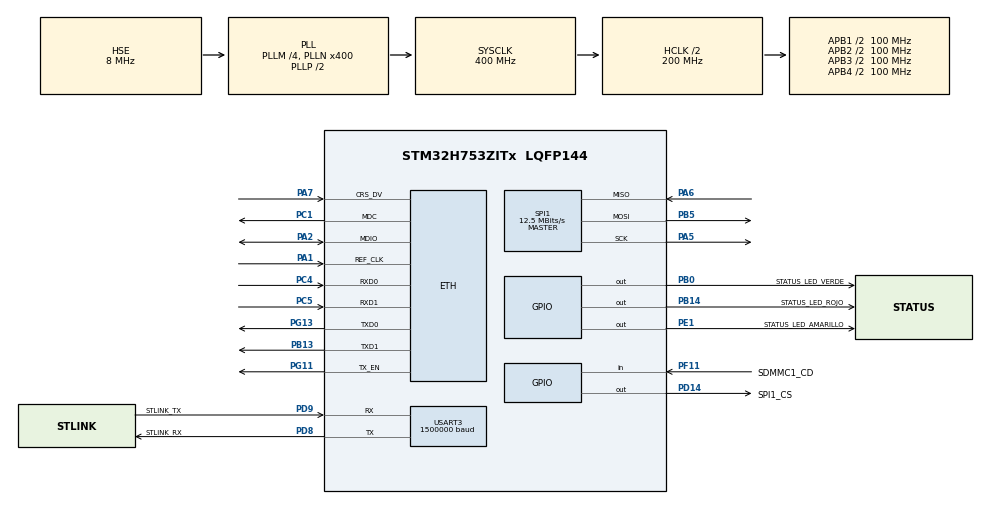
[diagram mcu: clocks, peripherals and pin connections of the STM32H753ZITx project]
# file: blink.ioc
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ADC3.Channel-1\#ChannelRegularConversion=ADC_CHANNEL_TEMPSENSOR
ADC3.NbrOfConversionFlag=1
ADC3.OffsetNumber-1\#ChannelRegularConversion=ADC_OFFSET_NONE
ADC3.OffsetSignedSaturation-1\#ChannelRegularConversion=DISABLE
ADC3.Rank-1\#ChannelRegularConversion=1
ADC3.SamplingTime-1\#ChannelRegularConversion=ADC_SAMPLETIME_1CYCLE_5
CORTEX_M7.AccessPermission_Spec=MPU_REGION_FULL_ACCESS
CORTEX_M7.BaseAddress_Spec=0x30000000
CORTEX_M7.CPU_DCache=Enabled
CORTEX_M7.CPU_ICache=Enabled
CORTEX_M7.DisableExec_Spec=MPU_INSTRUCTION_ACCESS_ENABLE
CORTEX_M7.IsShareable_Spec=MPU_ACCESS_NOT_SHAREABLE
CORTEX_M7.MPU_Control=MPU_PRIVILEGED_DEFAULT
CORTEX_M7.Size_Spec=MPU_REGION_SIZE_32KB
CORTEX_M7.SubRegionDisable_Spec=0
CORTEX_M7.TypeExtField_Spec=MPU_TEX_LEVEL1
CORTEX_M7.default_mode_Activation=1
Dma.Request0=USART3_TX
Dma.USART3_TX.0.Direction=DMA_MEMORY_TO_PERIPH
Dma.USART3_TX.0.EventEnable=DISABLE
Dma.USART3_TX.0.FIFOMode=DMA_FIFOMODE_DISABLE
Dma.USART3_TX.0.Instance=DMA1_Stream0
Dma.USART3_TX.0.MemDataAlignment=DMA_MDATAALIGN_BYTE
Dma.USART3_TX.0.MemInc=DMA_MINC_ENABLE
Dma.USART3_TX.0.Mode=DMA_NORMAL
Dma.USART3_TX.0.PeriphDataAlignment=DMA_PDATAALIGN_BYTE
Dma.USART3_TX.0.PeriphInc=DMA_PINC_DISABLE
Dma.USART3_TX.0.Polarity=HAL_DMAMUX_REQ_GEN_RISING
Dma.USART3_TX.0.Priority=DMA_PRIORITY_LOW
Dma.USART3_TX.0.RequestNumber=1
Dma.USART3_TX.0.SignalID=NONE
Dma.USART3_TX.0.SyncEnable=DISABLE
Dma.USART3_TX.0.SyncPolarity=HAL_DMAMUX_SYNC_NO_EVENT
Dma.USART3_TX.0.SyncRequestNumber=1
Dma.USART3_TX.0.SyncSignalID=NONE
ETH.MediaInterface=HAL_ETH_RMII_MODE
FREERTOS.Tasks01=defaultTask,24,512,StartDefaultTask,Default,NULL,Dynamic,NULL,NULL
FREERTOS.configENABLE_FPU=1
FREERTOS.configGENERATE_RUN_TIME_STATS=1
FREERTOS.configTOTAL_HEAP_SIZE=65536
FREERTOS.configUSE_MALLOC_FAILED_HOOK=1
FREERTOS.configUSE_NEWLIB_REENTRANT=1
Mcu.Family=STM32H7
Mcu.Name=STM32H753ZITx
Mcu.Package=LQFP144
NVIC.DMA1_Stream0_IRQn=true\:5\:0\:false\:false\:true\:true\:false\:true\:true
NVIC.ETH_IRQn=true\:5\:0\:true\:false\:false\:true\:true\:true\:true
NVIC.PriorityGroup=NVIC_PRIORITYGROUP_4
NVIC.TIM6_DAC_IRQn=true\:15\:0\:false\:false\:true\:false\:false\:true\:true
NVIC.TimeBase=TIM6_DAC_IRQn
NVIC.TimeBaseIP=TIM6
NVIC.USART3_IRQn=true\:5\:0\:false\:false\:true\:true\:true\:true\:true
PA1.Mode=RMII
PA1.Signal=ETH_REF_CLK
PA13\ (JTMS/SWDIO).Mode=Serial_Wire
PA13\ (JTMS/SWDIO).Signal=DEBUG_JTMS-SWDIO
PA14\ (JTCK/SWCLK).Mode=Serial_Wire
PA14\ (JTCK/SWCLK).Signal=DEBUG_JTCK-SWCLK
PA2.Mode=RMII
PA2.Signal=ETH_MDIO
PA5.GPIO_Mode=GPIO_MODE_AF_PP
PA5.GPIO_PuPd=GPIO_NOPULL
PA5.GPIO_Speed=GPIO_SPEED_FREQ_VERY_HIGH
PA5.Mode=Full_Duplex_Master
PA5.Signal=SPI1_SCK
PA6.GPIO_Mode=GPIO_MODE_AF_PP
PA6.GPIO_PuPd=GPIO_NOPULL
PA6.GPIO_Speed=GPIO_SPEED_FREQ_VERY_HIGH
PA6.Mode=Full_Duplex_Master
PA6.Signal=SPI1_MISO
PA7.Mode=RMII
PA7.Signal=ETH_CRS_DV
PB0.GPIO_Label=STATUS_LED_VERDE
PB0.Signal=GPIO_Output
PB13.Mode=RMII
PB13.Signal=ETH_TXD1
PB14.GPIO_Label=STATUS_LED_ROJO
PB14.Signal=GPIO_Output
PB5.GPIO_Speed=GPIO_SPEED_FREQ_VERY_HIGH
PB5.Mode=Full_Duplex_Master
PB5.Signal=SPI1_MOSI
PC1.Mode=RMII
PC1.Signal=ETH_MDC
PC14-OSC32_IN\ (OSC32_IN).Mode=LSE-External-Oscillator
PC14-OSC32_IN\ (OSC32_IN).Signal=RCC_OSC32_IN
PC15-OSC32_OUT\ (OSC32_OUT).Mode=LSE-External-Oscillator
PC15-OSC32_OUT\ (OSC32_OUT).Signal=RCC_OSC32_OUT
PC4.Mode=RMII
PC4.Signal=ETH_RXD0
PC5.Mode=RMII
PC5.Signal=ETH_RXD1
PD14.GPIO_Label=SPI1_CS
PD14.GPIO_Speed=GPIO_SPEED_FREQ_VERY_HIGH
PD14.PinState=GPIO_PIN_SET
PD14.Signal=GPIO_Output
PD8.GPIO_Label=STLINK_RX
PD8.Mode=Asynchronous
PD8.Signal=USART3_TX
PD9.GPIO_Label=STLINK_TX
PD9.Mode=Asynchronous
PD9.Signal=USART3_RX
PE1.GPIO_Label=STATUS_LED_AMARILLO
PE1.Signal=GPIO_Output
PF11.GPIO_Label=SDMMC1_CD
PF11.GPIO_PuPd=GPIO_PULLUP
PF11.Signal=GPIO_Input
PG11.Mode=RMII
PG11.Signal=ETH_TX_EN
PG13.Mode=RMII
PG13.Signal=ETH_TXD0
PH0-OSC_IN\ (PH0).Mode=HSE-External-Oscillator
PH0-OSC_IN\ (PH0).Signal=RCC_OSC_IN
PH1-OSC_OUT\ (PH1).Mode=HSE-External-Oscillator
PH1-OSC_OUT\ (PH1).Signal=RCC_OSC_OUT
ProjectManager.HeapSize=0x2000
ProjectManager.StackSize=0x2000
ProjectManager.TargetToolchain=STM32CubeIDE
RCC.ADCFreq_Value=25000000
RCC.APB1Freq_Value=100000000
RCC.APB2Freq_Value=100000000
RCC.APB3Freq_Value=100000000
RCC.APB4Freq_Value=100000000
RCC.CortexFreq_Value=400000000
RCC.D1PPRE=RCC_APB3_DIV2
RCC.D2PPRE1=RCC_APB1_DIV2
RCC.D2PPRE2=RCC_APB2_DIV2
RCC.D3PPRE=RCC_APB4_DIV2
RCC.DIVM1=4
RCC.DIVM2=4
RCC.DIVN1=400
RCC.DIVN2=100
RCC.DIVP2=8
RCC.DIVQ1=4
RCC.HCLKFreq_Value=200000000
RCC.HPRE=RCC_HCLK_DIV2
RCC.HSE_VALUE=8000000
RCC.LSE_Drive_Capability=RCC_LSEDRIVE_MEDIUMLOW
RCC.PLLFRACN=0
RCC.PLLSourceVirtual=RCC_PLLSOURCE_HSE
RCC.RTCClockSelection=RCC_RTCCLKSOURCE_LSE
RCC.SYSCLKFreq_VALUE=400000000
RCC.SYSCLKSource=RCC_SYSCLKSOURCE_PLLCLK
RCC.USBFreq_Value=200000000
SPI1.BaudRatePrescaler=SPI_BAUDRATEPRESCALER_16
SPI1.CLKPhase=SPI_PHASE_1EDGE
SPI1.CLKPolarity=SPI_POLARITY_LOW
SPI1.CalculateBaudRate=12.5 MBits/s
SPI1.DataSize=SPI_DATASIZE_8BIT
SPI1.Direction=SPI_DIRECTION_2LINES
SPI1.Mode=SPI_MODE_MASTER
SPI1.NSSPMode=SPI_NSS_PULSE_DISABLE
SPI1.VirtualType=VM_MASTER
USART3.BaudRate=1500000
USART3.VirtualMode-Asynchronous=VM_ASYNC
VP_ADC3_TempSens_Input.Mode=IN-TempSens
VP_FREERTOS_VS_CMSIS_V2.Mode=CMSIS_V2
VP_MEMORYMAP_VS_MEMORYMAP.Mode=CurAppReg
VP_RCC_LSE.Mode=CRS SYNC Source LSE
VP_RNG_VS_RNG.Mode=RNG_Activate
VP_RTC_VS_RTC_Activate.Mode=RTC_Enabled
VP_SYS_VS_tim6.Mode=TIM6
board=NUCLEO-H753ZI

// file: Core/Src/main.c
/* USER CODE BEGIN Header */
/**
  * @file           : main.c
  * @brief          : Código Nucleo-H753 - 400MHz HSE con 3 Tareas FreeRTOS
  */
/* USER CODE END Header */
#include "main.h"
#include "FreeRTOS.h"
#include "cmsis_os2.h"
#include "adc.h"
#include "dma.h"
#include "eth.h"
#include "rng.h"
#include "rtc.h"
#include "spi.h"
#include "usart.h"
#include "gpio.h"

/* USER CODE BEGIN Includes */
#include <stdio.h>
#include "LedDataVision/LedData.h"
#include "Error/ErrorHandler.h"
#include "MsgUart/TestUart/TestUart.h"
#include "MsgUart/RxUart/RxUart.h"
#include "MsgUart/TxUart/TxUart.h"
#include "SPI_Flash_Memory/SPI_Flash_Memory.h"
#include <string.h>
#include "Network/PageWeb/Modulo1_memory.h"
/* USER CODE END Includes */

/* USER CODE BEGIN PM */

/* AQUÍ: Macros de preprocesador que ejecutan lógica en línea.*/

/* USER CODE END PM */

/* USER CODE BEGIN PV */
extern UART_HandleTypeDef huart3;
extern osThreadId_t ThreadId_Uart_Rx;
/* USER CODE END PV */

void SystemClock_Config(void);
static void MPU_Config(void);
void MX_FREERTOS_Init(void);
/* USER CODE BEGIN PFP */
//void StartSDManagerTask(void *argument);

/* USER CODE END PFP */

int main(void)
{

  /* USER CODE BEGIN 1 */
  RamInfo_PaintMainStack();
  /* USER CODE END 1 */

  /* MPU Configuration--------------------------------------------------------*/
  MPU_Config();

  /* Enable the CPU Cache */

  /* Enable I-Cache---------------------------------------------------------*/
  SCB_EnableICache();

  /* Enable D-Cache---------------------------------------------------------*/
  SCB_EnableDCache();

  /* MCU Configuration--------------------------------------------------------*/

  /* Reset of all peripherals, Initializes the Flash interface and the Systick. */
  HAL_Init();

  /* Configure the system clock */
  SystemClock_Config();

  /* Initialize all configured peripherals */
  MX_GPIO_Init();
  MX_DMA_Init();
  MX_RTC_Init();
  MX_USART3_UART_Init();
  MX_SPI1_Init();
  MX_ETH_Init();
  MX_RNG_Init();
  MX_ADC3_Init();

  /* Init scheduler */
  osKernelInitialize();  /* Call init function for freertos objects (in cmsis_os2.c) */
  MX_FREERTOS_Init();

  /* Start scheduler */
  osKernelStart();

  /* We should never get here as control is now taken by the scheduler */

  /* Infinite loop */
  while (1)
  {

  }
}

void SystemClock_Config(void)
{
  RCC_OscInitTypeDef RCC_OscInitStruct = {0};
  RCC_ClkInitTypeDef RCC_ClkInitStruct = {0};
  RCC_CRSInitTypeDef RCC_CRSInitStruct = {0};

  /** Supply configuration update enable
  */
  HAL_PWREx_ConfigSupply(PWR_LDO_SUPPLY);

  /** Configure the main internal regulator output voltage
  */
  __HAL_PWR_VOLTAGESCALING_CONFIG(PWR_REGULATOR_VOLTAGE_SCALE1);

  while(!__HAL_PWR_GET_FLAG(PWR_FLAG_VOSRDY)) {}

  /** Configure LSE Drive Capability
  */
  HAL_PWR_EnableBkUpAccess();
  __HAL_RCC_LSEDRIVE_CONFIG(RCC_LSEDRIVE_MEDIUMLOW);

  /** Initializes the RCC Oscillators according to the specified parameters
  * in the RCC_OscInitTypeDef structure.
  */
  RCC_OscInitStruct.OscillatorType = RCC_OSCILLATORTYPE_HSI48|RCC_OSCILLATORTYPE_HSE
                              |RCC_OSCILLATORTYPE_LSE;
  RCC_OscInitStruct.HSEState = RCC_HSE_ON;
  RCC_OscInitStruct.LSEState = RCC_LSE_ON;
  RCC_OscInitStruct.HSI48State = RCC_HSI48_ON;
  RCC_OscInitStruct.PLL.PLLState = RCC_PLL_ON;
  RCC_OscInitStruct.PLL.PLLSource = RCC_PLLSOURCE_HSE;
  RCC_OscInitStruct.PLL.PLLM = 4;
  RCC_OscInitStruct.PLL.PLLN = 400;
  RCC_OscInitStruct.PLL.PLLP = 2;
  RCC_OscInitStruct.PLL.PLLQ = 4;
  RCC_OscInitStruct.PLL.PLLR = 2;
  RCC_OscInitStruct.PLL.PLLRGE = RCC_PLL1VCIRANGE_1;
  RCC_OscInitStruct.PLL.PLLVCOSEL = RCC_PLL1VCOWIDE;
  RCC_OscInitStruct.PLL.PLLFRACN = 0;
  if (HAL_RCC_OscConfig(&RCC_OscInitStruct) != HAL_OK)
  {
    Error_Handler();
  }

  /** Initializes the CPU, AHB and APB buses clocks
  */
  RCC_ClkInitStruct.ClockType = RCC_CLOCKTYPE_HCLK|RCC_CLOCKTYPE_SYSCLK
                              |RCC_CLOCKTYPE_PCLK1|RCC_CLOCKTYPE_PCLK2
                              |RCC_CLOCKTYPE_D3PCLK1|RCC_CLOCKTYPE_D1PCLK1;
  RCC_ClkInitStruct.SYSCLKSource = RCC_SYSCLKSOURCE_PLLCLK;
  RCC_ClkInitStruct.SYSCLKDivider = RCC_SYSCLK_DIV1;
  RCC_ClkInitStruct.AHBCLKDivider = RCC_HCLK_DIV2;
  RCC_ClkInitStruct.APB3CLKDivider = RCC_APB3_DIV2;
  RCC_ClkInitStruct.APB1CLKDivider = RCC_APB1_DIV2;
  RCC_ClkInitStruct.APB2CLKDivider = RCC_APB2_DIV2;
  RCC_ClkInitStruct.APB4CLKDivider = RCC_APB4_DIV2;

  if (HAL_RCC_ClockConfig(&RCC_ClkInitStruct, FLASH_LATENCY_2) != HAL_OK)
  {
    Error_Handler();
  }

  /** Enable the SYSCFG APB clock
  */
  __HAL_RCC_CRS_CLK_ENABLE();

  /** Configures CRS
  */
  RCC_CRSInitStruct.Prescaler = RCC_CRS_SYNC_DIV1;
  RCC_CRSInitStruct.Source = RCC_CRS_SYNC_SOURCE_LSE;
  RCC_CRSInitStruct.Polarity = RCC_CRS_SYNC_POLARITY_RISING;
  RCC_CRSInitStruct.ReloadValue = __HAL_RCC_CRS_RELOADVALUE_CALCULATE(48000000,32768);
  RCC_CRSInitStruct.ErrorLimitValue = 34;
  RCC_CRSInitStruct.HSI48CalibrationValue = 32;

  HAL_RCCEx_CRSConfig(&RCC_CRSInitStruct);
}

/* USER CODE BEGIN 4 */
/* CALLBACK */
void HAL_UART_TxCpltCallback(UART_HandleTypeDef *huart) {
    if (huart->Instance == USART3) {
    	// Solo envía la señal para despertar a la tarea
         osThreadFlagsSet(ThreadFunc_Uart_TX, 0x0001U);
    }
}

void HAL_UARTEx_RxEventCallback(UART_HandleTypeDef *huart, uint16_t Size) {
    if (huart->Instance == USART3) {

        if (Size > 0 && Size <= LONG_TYPE_TEXT_RX) {
            SCB_InvalidateDCache_by_Addr((uint32_t*)rxDmaBuffer, LONG_TYPE_TEXT_RX);

            memcpy(processingBuffer, rxDmaBuffer, Size);
            processingBuffer[Size] = '\0';
            receivedDataSize = Size;
        }

        uint32_t errorFlags = HAL_UART_GetError(huart);
        if (errorFlags != HAL_UART_ERROR_NONE) {
            __HAL_UART_CLEAR_FLAG(huart, UART_CLEAR_OREF | UART_CLEAR_NEF | UART_CLEAR_FEF | UART_CLEAR_PEF);
        }

        if (huart->RxState != HAL_UART_STATE_READY) {
            huart->RxState = HAL_UART_STATE_READY;
        }

        HAL_UARTEx_ReceiveToIdle_DMA(&huart3, rxDmaBuffer, LONG_TYPE_TEXT_RX);

        if (huart3.hdmarx != NULL) {
            __HAL_DMA_DISABLE_IT(huart3.hdmarx, DMA_IT_HT);
        }

        if (Size > 0 && Size <= LONG_TYPE_TEXT_RX) {
            BaseType_t xHigherPriorityTaskWoken = pdFALSE;
            vTaskNotifyGiveFromISR(ThreadId_Uart_Rx, &xHigherPriorityTaskWoken);
            portYIELD_FROM_ISR(xHigherPriorityTaskWoken);
        }
    }
}
/* USER CODE END 4 */

 /* MPU Configuration */

void MPU_Config(void)
{
  MPU_Region_InitTypeDef MPU_InitStruct = {0};

  /* Disables the MPU */
  HAL_MPU_Disable();

  /** Initializes and configures the Region and the memory to be protected
  */
  MPU_InitStruct.Enable = MPU_REGION_ENABLE;
  MPU_InitStruct.Number = MPU_REGION_NUMBER0;
  MPU_InitStruct.BaseAddress = 0x30000000;
  MPU_InitStruct.Size = MPU_REGION_SIZE_32KB;
  MPU_InitStruct.SubRegionDisable = 0;
  MPU_InitStruct.TypeExtField = MPU_TEX_LEVEL1;
  MPU_InitStruct.AccessPermission = MPU_REGION_FULL_ACCESS;
  MPU_InitStruct.DisableExec = MPU_INSTRUCTION_ACCESS_ENABLE;
  MPU_InitStruct.IsShareable = MPU_ACCESS_NOT_SHAREABLE;
  MPU_InitStruct.IsCacheable = MPU_ACCESS_NOT_CACHEABLE;
  MPU_InitStruct.IsBufferable = MPU_ACCESS_NOT_BUFFERABLE;

  HAL_MPU_ConfigRegion(&MPU_InitStruct);
  /* Enables the MPU */
  HAL_MPU_Enable(MPU_PRIVILEGED_DEFAULT);

}

void HAL_TIM_PeriodElapsedCallback(TIM_HandleTypeDef *htim)
{
  if (htim->Instance == TIM6)
  {
    HAL_IncTick();
  }
}

void Error_Handler(void)
{
  __disable_irq();
  while (1)
  {
  }
}

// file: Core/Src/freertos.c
/* USER CODE BEGIN Header */
/**
  ******************************************************************************
  * File Name          : freertos.c
  * Description        : Code for freertos applications
  ******************************************************************************
  * @attention1
  *
  * Copyright (c) 2026 STMicroelectronics.
  * All rights reserved.
  *
  * This software is licensed under terms that can be found in the LICENSE file
  * in the root directory of this software component.
  * If no LICENSE file comes with this software, it is provided AS-IS.
  *
  ******************************************************************************
  */
/* USER CODE END Header */

#include "FreeRTOS.h"
#include "task.h"
#include "main.h"
#include "FreeRTOS.h"
#include "cmsis_os2.h"

/* USER CODE BEGIN Includes */
#include <string.h>
#include <stdio.h>
#include "queue.h"
#include "LedDataVision/LedData.h"
#include "usart.h"
#include "stm32h7xx_hal_uart.h"
#include "MsgUart/TestUart/TestUart.h"
#include "MsgUart/RxUart/RxUart.h"
#include "MsgUart/TxUart/TxUart.h"
#include "SPI_Flash_Memory/SPI_Flash_Memory.h"
#include "Network/network.h"
#include "Network/PageWeb/modulo2_threads.h"
/* USER CODE END Includes */

/* USER CODE BEGIN Variables */
#define QUEUE_UART_RX_SIZE 10U
#define QUEUE_UART_TX_SIZE 15U

I_TestUart Uart1;
extern SPI_HandleTypeDef hspi1;
uint8_t flash_id[3] = {0, 0, 0};

/* ==============================================================================
 * 1. Definición de Atributos de Tareas (Thread Attributes)
 * ============================================================================== */
#define STACK_SIZE_INIT_TASK 512 * 4
const osThreadAttr_t ThreadAttr_InitTask = {
  .name       = "Task_Init",
  .stack_size = STACK_SIZE_INIT_TASK,
  .priority   = (osPriority_t) osPriorityHigh,
};

#define STACK_SIZE_STATUS_SYSTEM 256 * 4
const osThreadAttr_t ThreadAttr_StatusSystem = {
  .name       = "Task_StatusSystem",
  .stack_size = STACK_SIZE_STATUS_SYSTEM,
  .priority   = (osPriority_t) osPriorityLow,
};

#define STACK_SIZE_UART_TX 256 * 8
const osThreadAttr_t ThreadAttr_Uart_Tx = {
  .name       = "Task_UartTx",
  .stack_size = STACK_SIZE_UART_TX,
  .priority   = (osPriority_t) osPriorityBelowNormal,
};

#define STACK_SIZE_UART_RX 256 * 12
const osThreadAttr_t ThreadAttr_Uart_Rx = {
  .name       = "Task_UartRx",
  .stack_size = STACK_SIZE_UART_RX,
  .priority   = (osPriority_t) osPriorityBelowNormal,
};

#define STACK_SIZE_NETWORK 2048 * 10
static const osThreadAttr_t ThreadAttr_Network = {
  .name       = "Task_Network",
  .stack_size = STACK_SIZE_NETWORK,
  .priority   = (osPriority_t) osPriorityLow1,
};

/* ==============================================================================
 * 2. Definición de Identificadores de Tareas (Thread Handles)
 * ============================================================================== */

osThreadId_t ThreadId_InitTask;
osThreadId_t ThreadId_StatusSystem;
osThreadId_t ThreadId_Uart_Tx;
osThreadId_t ThreadId_Uart_Rx;
osThreadId_t ThreadId_Network;

/* USER CODE END Variables */
/* Definitions for defaultTask */
osThreadId_t defaultTaskHandle;
const osThreadAttr_t defaultTask_attributes = {
  .name = "defaultTask",
  .stack_size = 512 * 4,
  .priority = (osPriority_t) osPriorityNormal,
};

/* USER CODE BEGIN FunctionPrototypes */
void ThreadFunc_InitTask(void *argument);

/* USER CODE END FunctionPrototypes */

void StartDefaultTask(void *argument);

void MX_FREERTOS_Init(void); /* (MISRA C 2004 rule 8.1) */

/* Hook prototypes */
void configureTimerForRunTimeStats(void);
unsigned long getRunTimeCounterValue(void);
void vApplicationMallocFailedHook(void);

/* USER CODE BEGIN 1 */
/* Functions needed when configGENERATE_RUN_TIME_STATS is on */
__weak void configureTimerForRunTimeStats(void)
{
  Modulo2_RunTimeInit();
}

__weak unsigned long getRunTimeCounterValue(void)
{
  return Modulo2_RunTimeGet();
}
/* USER CODE END 1 */

/* USER CODE BEGIN 5 */
void vApplicationMallocFailedHook(void)
{
   /* vApplicationMallocFailedHook() will only be called if
   configUSE_MALLOC_FAILED_HOOK is set to 1 in FreeRTOSConfig.h. It is a hook
   function that will get called if a call to pvPortMalloc() fails.
   pvPortMalloc() is called internally by the kernel whenever a task, queue,
   timer or semaphore is created. It is also called by various parts of the
   demo application. If heap_1.c or heap_2.c are used, then the size of the
   heap available to pvPortMalloc() is defined by configTOTAL_HEAP_SIZE in
   FreeRTOSConfig.h, and the xPortGetFreeHeapSize() API function can be used
   to query the size of free heap space that remains (although it does not
   provide information on how the remaining heap might be fragmented). */
}
/* USER CODE END 5 */

void MX_FREERTOS_Init(void) {

  /* USER CODE BEGIN RTOS_QUEUES */
  /* add queues, ... */
	Queue_Uart_Tx = osMessageQueueNew(QUEUE_UART_TX_SIZE, sizeof(S_UartMsg *), NULL);
	Queue_Uart_Rx = osMessageQueueNew(QUEUE_UART_RX_SIZE, sizeof(S_UartMsg *), NULL);
  /* USER CODE END RTOS_QUEUES */

  /* Create the thread(s) */
  /* creation of defaultTask */
  defaultTaskHandle = osThreadNew(StartDefaultTask, NULL, &defaultTask_attributes);

  /* USER CODE BEGIN RTOS_THREADS */

	// 1. Tarea de Inicialización del Sistema
		ThreadId_InitTask = osThreadNew(ThreadFunc_InitTask, NULL, &ThreadAttr_InitTask);

	// 2. Tarea de Estado del Sistema (LEDs/Sensores)
		ThreadId_StatusSystem = osThreadNew(StartGreenYellowRedTask, &startConfiguration, &ThreadAttr_StatusSystem);

	// 3. Tareas UART (Transmisión y Recepción)
		ThreadId_Uart_Tx = osThreadNew(ThreadFunc_Uart_TX, NULL, &ThreadAttr_Uart_Tx);
		ThreadId_Uart_Rx = osThreadNew(ThreadFunc_Uart_Rx, NULL, &ThreadAttr_Uart_Rx);

	// 4. NetWork
		//Archivo propio

  /* USER CODE END RTOS_THREADS */

}

void StartDefaultTask(void *argument)
{
  /* USER CODE BEGIN StartDefaultTask */
  /* Infinite loop */
  for(;;)
  {
    osDelay(1000000);
  }
  /* USER CODE END StartDefaultTask */
}

/* USER CODE BEGIN Application */

/* ==============================================================================
 * Implementación de las Funciones de Tarea (Thread Functions)
 * ============================================================================== */

/**
 * @brief Tarea encargada de inicializar periféricos o módulos que requieren
 *        el RTOS activo (ej. uso de retardos de OS, colas, etc.).
 *        Una vez finaliza, se auto-destruye.
 */
void ThreadFunc_InitTask(void *argument)
{
  Uart1 = TestUart_Init(false);
  osDelay(100);
  Flash_Init(&spi_flash_memory_1, &hspi1, SPI1_CS_GPIO_Port, SPI1_CS_Pin, true);
  osDelay(300);
  Flash_Load_Init(&spi_flash_memory_1);
  osDelay(300);
  Flash_Monitor_Init(&spi_flash_memory_1);
  osDelay(300);
  ThreadId_Network = osThreadNew(ThreadFunc_Network, NULL, &ThreadAttr_Network);
  osDelay(100);

  osThreadExit();
}

/* USER CODE END Application */
